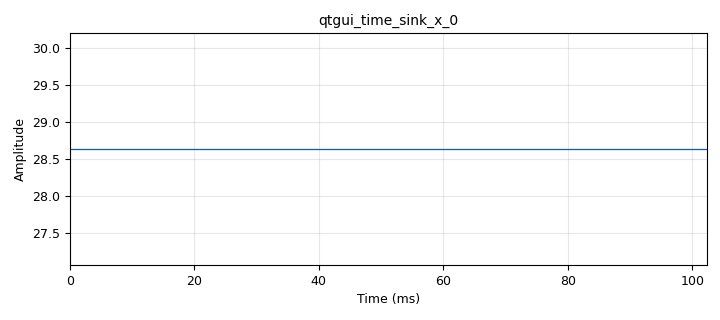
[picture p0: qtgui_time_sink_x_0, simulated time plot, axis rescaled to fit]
options:
  parameters:
    author: Maxbarr007
    generate_options: qt_gui
    id: ej9f3
    output_language: python
    title: Not titled yet
  states: {}

blocks:
- name: samp_rate
  id: variable
  parameters:
    value: '10000'
  states: {}
- name: analog_sig_source_x_0
  id: analog_sig_source_x
  parameters:
    amp: '1'
    freq: '100'
    offset: '0'
    phase: '0'
    samp_rate: samp_rate
    type: float
    waveform: analog.GR_SIN_WAVE
  states: {}
- name: analog_sig_source_x_0_0
  id: analog_sig_source_x
  parameters:
    amp: '1'
    freq: '100'
    offset: '0'
    phase: '0'
    samp_rate: samp_rate
    type: float
    waveform: analog.GR_SIN_WAVE
  states: {}
- name: analog_sig_source_x_0_1
  id: analog_sig_source_x
  parameters:
    amp: '1'
    freq: '100'
    offset: '0'
    phase: '0'
    samp_rate: samp_rate
    type: float
    waveform: analog.GR_SIN_WAVE
  states: {}
- name: blocks_divide_xx_0
  id: blocks_divide_xx
  parameters:
    type: float
  states: {}
- name: blocks_sub_xx_0
  id: blocks_sub_xx
  parameters:
    type: float
  states: {}
- name: blocks_throttle2_1
  id: blocks_throttle2
  parameters:
    samples_per_second: samp_rate
    type: float
  states: {}
- name: blocks_throttle2_1_0
  id: blocks_throttle2
  parameters:
    samples_per_second: samp_rate
    type: float
  states: {}
- name: blocks_throttle2_1_1
  id: blocks_throttle2
  parameters:
    samples_per_second: samp_rate
    type: float
  states: {}
- name: channels_quantizer_0
  id: channels_quantizer
  parameters:
    bits: '2'
  states: {}
- name: epy_block_0
  id: epy_block
  parameters:
    _source_code: |
      """
      Embedded Python Blocks:

      Each time this file is saved, GRC will instantiate the first class it finds
      to get ports and parameters of your block. The arguments to __init__  will
      be the parameters. All of them are required to have default values!
      """

      import numpy as np
      from gnuradio import gr

      class blk(gr.sync_block):
          def __init__(self):
              gr.sync_block.__init__(
                  self,
                  name='Potencia media',
                  in_sig=[np.float32],
                  out_sig=[np.float32]
              )

          def work(self, input_items, output_items):
              prom_cuadratico = np.mean(input_items[0] ** 2)
              prom_vec = np.repeat(prom_cuadratico, len(output_items[0]))
              output_items[0][:] = prom_vec
              return len(output_items[0])
  states: {}
- name: epy_block_0_0
  id: epy_block
  parameters:
    _source_code: |
      """
      Embedded Python Blocks:

      Each time this file is saved, GRC will instantiate the first class it finds
      to get ports and parameters of your block. The arguments to __init__  will
      be the parameters. All of them are required to have default values!
      """

      import numpy as np
      from gnuradio import gr

      class blk(gr.sync_block):
          def __init__(self):
              gr.sync_block.__init__(
                  self,
                  name='Potencia media',
                  in_sig=[np.float32],
                  out_sig=[np.float32]
              )

          def work(self, input_items, output_items):
              prom_cuadratico = np.mean(input_items[0] ** 2)
              prom_vec = np.repeat(prom_cuadratico, len(output_items[0]))
              output_items[0][:] = prom_vec
              return len(output_items[0])
  states: {}
- name: qtgui_time_sink_x_0
  id: qtgui_time_sink_x
  parameters:
    ctrlpanel: 'True'
    size: '1024'
    srate: samp_rate
    type: float
  states: {}

connections:
- [analog_sig_source_x_0, '0', blocks_throttle2_1, '0']
- [analog_sig_source_x_0_0, '0', blocks_throttle2_1_0, '0']
- [analog_sig_source_x_0_1, '0', blocks_throttle2_1_1, '0']
- [blocks_divide_xx_0, '0', qtgui_time_sink_x_0, '0']
- [blocks_sub_xx_0, '0', epy_block_0, '0']
- [blocks_throttle2_1, '0', blocks_sub_xx_0, '0']
- [blocks_throttle2_1_0, '0', channels_quantizer_0, '0']
- [blocks_throttle2_1_1, '0', epy_block_0_0, '0']
- [channels_quantizer_0, '0', blocks_sub_xx_0, '1']
- [epy_block_0, '0', blocks_divide_xx_0, '1']
- [epy_block_0_0, '0', blocks_divide_xx_0, '0']

metadata:
  file_format: 1
  grc_version: 3.10.12.0
